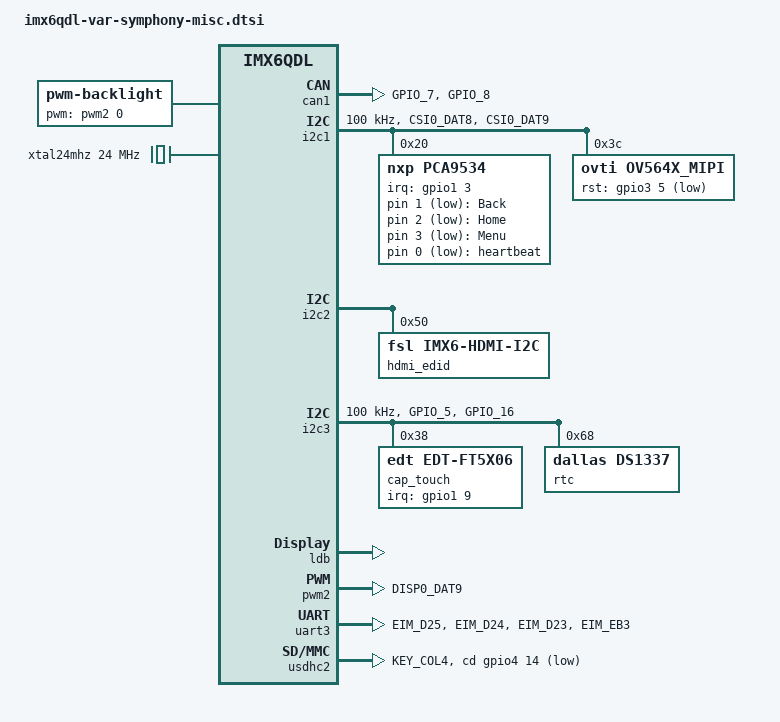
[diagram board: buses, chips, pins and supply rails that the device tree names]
/*
 * Copyright (C) 2020 Variscite Ltd.
 *
 * This program is free software; you can redistribute it and/or modify
 * it under the terms of the GNU General Public License version 2 as
 * published by the Free Software Foundation.
 *
 * Settings for SymphonyBoard
 */

/ {
	backlight {
		compatible = "pwm-backlight";
		pwms = <&pwm2 0 50000>;
		brightness-levels = <0 4 8 16 32 64 128 248>;
		default-brightness-level = <7>;
		status = "okay";
	};

	/* Buttons in the motherboard */
	gpio-keys {
		compatible = "gpio-keys";

		back {
			label = "Back";
			gpios = <&pca9534 1 GPIO_ACTIVE_LOW>;
			linux,code = <KEY_BACK>;
		};

		home {
			label = "Home";
			gpios = <&pca9534 2 GPIO_ACTIVE_LOW>;
			linux,code = <KEY_HOME>;
		};

		menu {
			label = "Menu";
			gpios = <&pca9534 3 GPIO_ACTIVE_LOW>;
			linux,code = <KEY_MENU>;
		};
	};

	gpio-leds {
		compatible = "gpio-leds";
		status = "okay";

		heartbeat {
			label = "heartbeat";
			gpios = <&pca9534 0 GPIO_ACTIVE_LOW>;
			linux,default-trigger = "heartbeat";
		};
	};

	xtal24mhz: xtal24mhz@24M {
		#clock-cells = <0>;
		compatible = "fixed-clock";
		clock-frequency = <24000000>;
	};
};

&can1 {
	pinctrl-names = "default";
	pinctrl-0 = <&pinctrl_flexcan1>;
	status = "okay";
};

&i2c1 {
	clock-frequency = <100000>;
	pinctrl-names = "default";
	pinctrl-0 = <&pinctrl_i2c1>;
	status = "okay";

	/* GPIO expander */
	pca9534:gpio@20 {
		compatible = "nxp,pca9534";
		reg = <0x20>;
		gpio-controller;
		pinctrl-names = "default";
		pinctrl-0 = <&pinctrl_pca9534>;
		interrupt-parent = <&gpio1>;
		interrupts = <3 IRQ_TYPE_EDGE_FALLING>;
		#gpio-cells = <2>;
		wakeup-source;
	};

	ov564x_mipi: ov564x_mipi@3c {
		compatible = "ovti,ov564x_mipi";
		reg = <0x3c>;
		pinctrl-names = "default";
		pinctrl-0 = <&pinctrl_ov564x_mipi>;
		clocks = <&xtal24mhz>;
		clock-names = "csi_mclk";
		rst-gpios = <&gpio3 5 GPIO_ACTIVE_LOW>;
		csi_id = <1>;
		mclk = <24000000>;
		mclk_source = <0>;
	};
};

&i2c2 {
	hdmi_edid: edid@50 {
		compatible = "fsl,imx6-hdmi-i2c";
		reg = <0x50>;
	};
};

&i2c3 {
	clock-frequency = <100000>;
	pinctrl-names = "default";
	pinctrl-0 = <&pinctrl_i2c3>;
	status = "okay";

	/* Touch */
	cap_touch: ft5x06_ts@38 {
		compatible = "edt,edt-ft5x06";
		reg = <0x38>;
		pinctrl-names = "default";
		pinctrl-0 = <&pinctrl_ft5x06>;
		interrupt-parent = <&gpio1>;
		interrupts = <9 0>;
		touchscreen-size-x = <800>;
		touchscreen-size-y = <480>;
		touchscreen-inverted-x;
		touchscreen-inverted-y;
		status = "okay";
	};

	/* DS1337 RTC module */
	rtc@68 {
		compatible = "dallas,ds1337";
		reg = <0x68>;
	};
};

&iomuxc {
	imx6qdl-var-som-mx6 {
		pinctrl_flexcan1: flexcan1grp {
			fsl,pins = <
				MX6QDL_PAD_GPIO_7__FLEXCAN1_TX		0x80000000
				MX6QDL_PAD_GPIO_8__FLEXCAN1_RX		0x80000000
			>;
		};

		pinctrl_ft5x06: ft5x06grp {
			fsl,pins = <
				MX6QDL_PAD_GPIO_9__GPIO1_IO09		0x80000000
			>;
		};

		pinctrl_i2c1: i2c1grp {
			fsl,pins = <
				MX6QDL_PAD_CSI0_DAT8__I2C1_SDA		0x4001b8b1
				MX6QDL_PAD_CSI0_DAT9__I2C1_SCL		0x4001b8b1
			>;
		};

		pinctrl_i2c3: i2c3grp {
			fsl,pins = <
				MX6QDL_PAD_GPIO_5__I2C3_SCL		0x4001b8b1
				MX6QDL_PAD_GPIO_16__I2C3_SDA		0x4001b8b1
			>;
		};
		pinctrl_ov564x_mipi: ov564xmipigrp {
			fsl,pins = <
				/* J1.86-MIPI_CAM_BUF_CTL: pull up present
				 * pull dowm to manage additional signals
				 * like trigger, powerdown, opt, sync
				 */
				MX6QDL_PAD_EIM_D19__GPIO3_IO19		0x80000000
				/* Camera reset */
				MX6QDL_PAD_EIM_DA5__GPIO3_IO05		0x80000000
			>;
		};
		pinctrl_pca9534: pca9534grp {
			fsl,pins = <
				MX6QDL_PAD_GPIO_3__GPIO1_IO03		0x80000000
			>;
		};

		pinctrl_pcie: pciegrp {
			fsl,pins = <
				MX6QDL_PAD_DISP0_DAT23__GPIO5_IO17	0x80000000 /* reset# */
			>;
		};

		pinctrl_pwm2: pwm2grp {
			fsl,pins = <
				MX6QDL_PAD_DISP0_DAT9__PWM2_OUT		0x1b0b1
			>;
		};

		/* Variscite Uart3 support */
		pinctrl_uart3: uart3grp {	/* RX/TX RTS/CTS */
			fsl,pins = <
				MX6QDL_PAD_EIM_D25__UART3_RX_DATA	0x1b0b1
				MX6QDL_PAD_EIM_D24__UART3_TX_DATA	0x1b0b1
				MX6QDL_PAD_EIM_D23__UART3_CTS_B		0x1b0b1
				MX6QDL_PAD_EIM_EB3__UART3_RTS_B		0x1b0b1
			>;
		};

		pinctrl_usdhc2_gpio: usdhc2gpiogrp {
			fsl,pins = <
				/* SDMMC2 CD */
				MX6QDL_PAD_KEY_COL4__GPIO4_IO14		0x80000000
			>;
		};
	};
};

&ldb {
	status = "okay";

	lvds-channel@0 {
		fsl,data-mapping = "spwg";
		fsl,data-width = <18>;
		primary;
		status = "okay";

		display-timings {
			native-mode = <&timing0>;
			timing0: hsd100pxn1 {
				clock-frequency = <32000000>;
				hactive = <800>;
				vactive = <480>;
				hback-porch = <39>;
				hfront-porch = <39>;
				vback-porch = <29>;
				vfront-porch = <13>;
				hsync-len = <47>;
				vsync-len = <2>;
			};
		};
	};

	lvds-channel@1 {
		fsl,data-mapping = "spwg";
		fsl,data-width = <18>;
		status = "okay";

		display-timings {
			native-mode = <&timing1>;
			timing1: hsd100pxn1 {
				clock-frequency = <32000000>;
				hactive = <800>;
				vactive = <480>;
				hback-porch = <39>;
				hfront-porch = <39>;
				vback-porch = <29>;
				vfront-porch = <13>;
				hsync-len = <47>;
				vsync-len = <2>;
			};
		};
	};
};

&mxcfb1 {
	interface_pix_fmt = "RGB666";
};

&pcie {
	pinctrl-names = "default";
	pinctrl-0 = <&pinctrl_pcie>;
	reset-gpio    = <&gpio5 17 GPIO_ACTIVE_LOW>;
	/* Symphony board has been designed for iMX8 families SoMs and
	 * provides an external clock source (U6).
	 * To use iMX6 SoMs, there are 2 possible choices:
	 * 1) use internal SoC clock: install R21 (to disable ext clock)
	 *    install 100nF instead of R37,R38, remove R22,R23,R35,R36
	 * 2) use external clock: PLL6 bypass mode is mandatory required when
	 *    external oscillator is used as pcie ref clk.
	 *    Also, disable fec/sata, because they can't provide internal
	 *    reference clocks when pll6 is in bypass mode.
	 *    NXP REF: MLK-13186
	 */
	status = "disabled";
};

&pwm2 {
	pinctrl-names = "default";
	pinctrl-0 = <&pinctrl_pwm2>;
	status = "okay";
};

/* ttymxc2 UART */
&uart3 {
	pinctrl-names = "default";
	pinctrl-0 = <&pinctrl_uart3>;
	uart-has-rtscts;
	status = "okay";
};

&usdhc2 {	/* uSDHC2, MMC/SD card */
	pinctrl-names = "default";
	pinctrl-0 = <&pinctrl_usdhc2>, <&pinctrl_usdhc2_gpio>;
	cd-gpios = <&gpio4 14 GPIO_ACTIVE_LOW>;
	no-1-8-v;
	keep-power-in-suspend;
	enable-sdio-wakeup;
	status = "okay";
};
